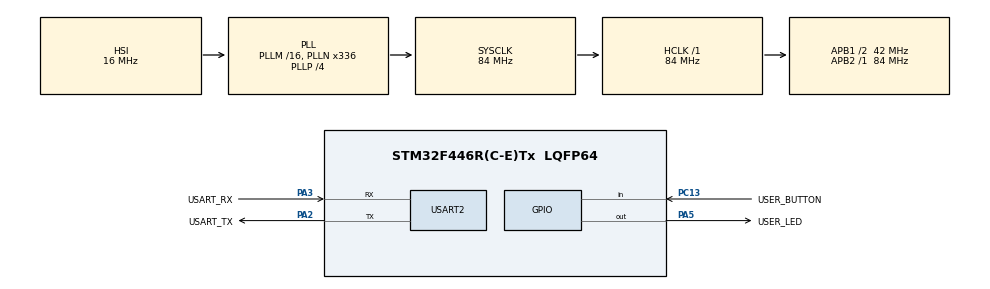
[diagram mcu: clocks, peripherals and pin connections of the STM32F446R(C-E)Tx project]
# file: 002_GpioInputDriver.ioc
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Mcu.Family=STM32F4
Mcu.Name=STM32F446R(C-E)Tx
Mcu.Package=LQFP64
NVIC.PriorityGroup=NVIC_PRIORITYGROUP_0
PA13.GPIO_Label=TMS
PA13.Mode=Serial_Wire
PA13.Signal=SYS_JTMS-SWDIO
PA14.GPIO_Label=TCK
PA14.Mode=Serial_Wire
PA14.Signal=SYS_JTCK-SWCLK
PA2.GPIO_Label=USART_TX
PA2.Mode=Asynchronous
PA2.Signal=USART2_TX
PA3.GPIO_Label=USART_RX
PA3.Mode=Asynchronous
PA3.Signal=USART2_RX
PA5.GPIO_Label=USER_LED
PA5.Signal=GPIO_Output
PB3.GPIO_Label=SWO
PB3.Signal=SYS_JTDO-SWO
PC13.GPIO_Label=USER_BUTTON
PC13.Signal=GPIO_Input
PC14-OSC32_IN.Mode=LSE-External-Oscillator
PC14-OSC32_IN.Signal=RCC_OSC32_IN
PC15-OSC32_OUT.Mode=LSE-External-Oscillator
PC15-OSC32_OUT.Signal=RCC_OSC32_OUT
PH0-OSC_IN.Mode=HSE-External-Oscillator
PH0-OSC_IN.Signal=RCC_OSC_IN
PH1-OSC_OUT.Mode=HSE-External-Oscillator
PH1-OSC_OUT.Signal=RCC_OSC_OUT
ProjectManager.HeapSize=0x200
ProjectManager.StackSize=0x400
ProjectManager.TargetToolchain=STM32CubeIDE
RCC.48MHZClocksFreq_Value=84000000
RCC.AHBFreq_Value=84000000
RCC.APB1CLKDivider=RCC_HCLK_DIV2
RCC.APB1Freq_Value=42000000
RCC.APB1TimFreq_Value=84000000
RCC.APB2Freq_Value=84000000
RCC.APB2TimFreq_Value=84000000
RCC.CortexFreq_Value=84000000
RCC.FLatency-AdvancedSettings=FLASH_LATENCY_2
RCC.HCLKFreq_Value=84000000
RCC.HSE_VALUE=8000000
RCC.HSI_VALUE=16000000
RCC.PLLN=336
RCC.PLLP=RCC_PLLP_DIV4
RCC.SYSCLKFreq_VALUE=84000000
RCC.SYSCLKSource=RCC_SYSCLKSOURCE_PLLCLK
RCC.USBFreq_Value=168000000
RCC.VCOOutputFreq_Value=336000000
USART2.VirtualMode=VM_ASYNC
board=NUCLEO-F446RE

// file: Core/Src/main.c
/* USER CODE BEGIN Header */
/**
  ******************************************************************************
  * @file           : main.c
  * @brief          : Main program body
  ******************************************************************************
  * @attention
  *
  * Copyright (c) 2026 STMicroelectronics.
  * All rights reserved.
  *
  * This software is licensed under terms that can be found in the LICENSE file
  * in the root directory of this software component.
  * If no LICENSE file comes with this software, it is provided AS-IS.
  *
  ******************************************************************************
  */
/* USER CODE END Header */
#include "main.h"

#include "gpio_input.h"

UART_HandleTypeDef huart2;

/* USER CODE BEGIN PV */
static GpioInputHandle_t g_userButton;
/* USER CODE END PV */

void SystemClock_Config(void);
static void MX_GPIO_Init(void);
static void MX_USART2_UART_Init(void);

/* USER CODE BEGIN 0 */
static const GpioInputConfig_t userButtonConfig  =
{
    .port = GPIOC,
    .pin = GPIO_PIN_13,
    .activeState = GPIO_PIN_RESET
};

/* USER CODE END 0 */

int main(void)
{

  /* MCU Configuration--------------------------------------------------------*/

  /* Reset of all peripherals, Initializes the Flash interface and the Systick. */
  HAL_Init();

  /* Configure the system clock */
  SystemClock_Config();

  /* Initialize all configured peripherals */
  MX_GPIO_Init();
  MX_USART2_UART_Init();
  /* USER CODE BEGIN 2 */
  if (GpioInputInit(&g_userButton, &userButtonConfig) != e_GpioInputOk)
  {
      Error_Handler();
  }
  /* USER CODE END 2 */

  /* Infinite loop */
  while (1)
  {

    /* USER CODE BEGIN 3 */
	    if (GpioInputIsActive(&g_userButton))
	    {
	        HAL_GPIO_WritePin(
	            GPIOA,
	            GPIO_PIN_5,
	            GPIO_PIN_SET
	        );
	    }
	    else
	    {
	        HAL_GPIO_WritePin(GPIOA, GPIO_PIN_5, GPIO_PIN_RESET );
	    }
  }
  /* USER CODE END 3 */
}

void SystemClock_Config(void)
{
  RCC_OscInitTypeDef RCC_OscInitStruct = {0};
  RCC_ClkInitTypeDef RCC_ClkInitStruct = {0};

  /** Configure the main internal regulator output voltage
  */
  __HAL_RCC_PWR_CLK_ENABLE();
  __HAL_PWR_VOLTAGESCALING_CONFIG(PWR_REGULATOR_VOLTAGE_SCALE3);

  /** Initializes the RCC Oscillators according to the specified parameters
  * in the RCC_OscInitTypeDef structure.
  */
  RCC_OscInitStruct.OscillatorType = RCC_OSCILLATORTYPE_HSI;
  RCC_OscInitStruct.HSIState = RCC_HSI_ON;
  RCC_OscInitStruct.HSICalibrationValue = RCC_HSICALIBRATION_DEFAULT;
  RCC_OscInitStruct.PLL.PLLState = RCC_PLL_ON;
  RCC_OscInitStruct.PLL.PLLSource = RCC_PLLSOURCE_HSI;
  RCC_OscInitStruct.PLL.PLLM = 16;
  RCC_OscInitStruct.PLL.PLLN = 336;
  RCC_OscInitStruct.PLL.PLLP = RCC_PLLP_DIV4;
  RCC_OscInitStruct.PLL.PLLQ = 2;
  RCC_OscInitStruct.PLL.PLLR = 2;
  if (HAL_RCC_OscConfig(&RCC_OscInitStruct) != HAL_OK)
  {
    Error_Handler();
  }

  /** Initializes the CPU, AHB and APB buses clocks
  */
  RCC_ClkInitStruct.ClockType = RCC_CLOCKTYPE_HCLK|RCC_CLOCKTYPE_SYSCLK
                              |RCC_CLOCKTYPE_PCLK1|RCC_CLOCKTYPE_PCLK2;
  RCC_ClkInitStruct.SYSCLKSource = RCC_SYSCLKSOURCE_PLLCLK;
  RCC_ClkInitStruct.AHBCLKDivider = RCC_SYSCLK_DIV1;
  RCC_ClkInitStruct.APB1CLKDivider = RCC_HCLK_DIV2;
  RCC_ClkInitStruct.APB2CLKDivider = RCC_HCLK_DIV1;

  if (HAL_RCC_ClockConfig(&RCC_ClkInitStruct, FLASH_LATENCY_2) != HAL_OK)
  {
    Error_Handler();
  }
}

static void MX_USART2_UART_Init(void)
{

  huart2.Instance = USART2;
  huart2.Init.BaudRate = 115200;
  huart2.Init.WordLength = UART_WORDLENGTH_8B;
  huart2.Init.StopBits = UART_STOPBITS_1;
  huart2.Init.Parity = UART_PARITY_NONE;
  huart2.Init.Mode = UART_MODE_TX_RX;
  huart2.Init.HwFlowCtl = UART_HWCONTROL_NONE;
  huart2.Init.OverSampling = UART_OVERSAMPLING_16;
  if (HAL_UART_Init(&huart2) != HAL_OK)
  {
    Error_Handler();
  }

}

static void MX_GPIO_Init(void)
{
  GPIO_InitTypeDef GPIO_InitStruct = {0};

  /* GPIO Ports Clock Enable */
  __HAL_RCC_GPIOC_CLK_ENABLE();
  __HAL_RCC_GPIOH_CLK_ENABLE();
  __HAL_RCC_GPIOA_CLK_ENABLE();
  __HAL_RCC_GPIOB_CLK_ENABLE();

  /*Configure GPIO pin Output Level */
  HAL_GPIO_WritePin(USER_LED_GPIO_Port, USER_LED_Pin, GPIO_PIN_RESET);

  /*Configure GPIO pin : USER_BUTTON_Pin */
  GPIO_InitStruct.Pin = USER_BUTTON_Pin;
  GPIO_InitStruct.Mode = GPIO_MODE_INPUT;
  GPIO_InitStruct.Pull = GPIO_NOPULL;
  HAL_GPIO_Init(USER_BUTTON_GPIO_Port, &GPIO_InitStruct);

  /*Configure GPIO pin : USER_LED_Pin */
  GPIO_InitStruct.Pin = USER_LED_Pin;
  GPIO_InitStruct.Mode = GPIO_MODE_OUTPUT_PP;
  GPIO_InitStruct.Pull = GPIO_NOPULL;
  GPIO_InitStruct.Speed = GPIO_SPEED_FREQ_LOW;
  HAL_GPIO_Init(USER_LED_GPIO_Port, &GPIO_InitStruct);

}

void Error_Handler(void)
{
  __disable_irq();
  while (1)
  {
  }
}
